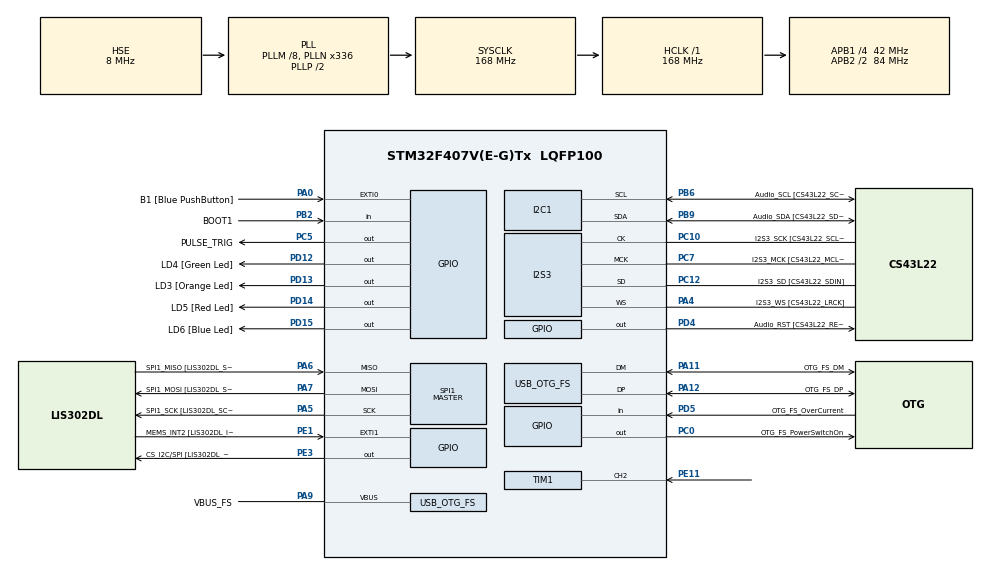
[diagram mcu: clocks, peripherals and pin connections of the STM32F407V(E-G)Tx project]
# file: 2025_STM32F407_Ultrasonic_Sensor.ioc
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I2S3.AudioFreq-Half_Duplex_Master=I2S_AUDIOFREQ_96K
I2S3.ErrorAudioFreq=-2.34 %
I2S3.ErrorAudioFreq-Half_Duplex_Master=0.8 %
I2S3.FullDuplexMode=I2S_FULLDUPLEXMODE_DISABLE
I2S3.Instance=SPI$Index
I2S3.RealAudioFreq=93.75 KHz
I2S3.RealAudioFreq-Half_Duplex_Master=96.774 KHz
I2S3.VirtualMode=I2S_MODE_MASTER
Mcu.Family=STM32F4
Mcu.Name=STM32F407V(E-G)Tx
Mcu.Package=LQFP100
NVIC.OTG_FS_IRQn=true\:0\:0\:false\:false\:true\:true\:true\:true
NVIC.PriorityGroup=NVIC_PRIORITYGROUP_0
NVIC.TIM1_CC_IRQn=true\:0\:0\:false\:false\:true\:true\:true\:true
PA0-WKUP.GPIO_Label=B1 [Blue PushButton]
PA0-WKUP.GPIO_ModeDefaultEXTI=GPIO_MODE_EVT_RISING
PA0-WKUP.GPIO_PuPd=GPIO_NOPULL
PA0-WKUP.Signal=GPXTI0
PA10.GPIO_Label=OTG_FS_ID
PA10.GPIO_Mode=GPIO_MODE_AF_PP
PA10.GPIO_PuPd=GPIO_NOPULL
PA10.GPIO_Speed=GPIO_SPEED_FREQ_LOW
PA10.Signal=USB_OTG_FS_ID
PA11.GPIO_Label=OTG_FS_DM
PA11.GPIO_Mode=GPIO_MODE_AF_PP
PA11.GPIO_PuPd=GPIO_NOPULL
PA11.GPIO_Speed=GPIO_SPEED_FREQ_LOW
PA11.Mode=Host_Only
PA11.Signal=USB_OTG_FS_DM
PA12.GPIO_Label=OTG_FS_DP
PA12.GPIO_Mode=GPIO_MODE_AF_PP
PA12.GPIO_PuPd=GPIO_NOPULL
PA12.GPIO_Speed=GPIO_SPEED_FREQ_LOW
PA12.Mode=Host_Only
PA12.Signal=USB_OTG_FS_DP
PA13.GPIO_Label=SWDIO
PA13.Mode=Serial_Wire
PA13.Signal=SYS_JTMS-SWDIO
PA14.GPIO_Label=SWCLK
PA14.Mode=Serial_Wire
PA14.Signal=SYS_JTCK-SWCLK
PA4.GPIO_Label=I2S3_WS [CS43L22_LRCK]
PA4.GPIO_Mode=GPIO_MODE_AF_PP
PA4.GPIO_PuPd=GPIO_NOPULL
PA4.GPIO_Speed=GPIO_SPEED_FREQ_LOW
PA4.Mode=Half_Duplex_Master
PA4.Signal=I2S3_WS
PA5.GPIO_Label=SPI1_SCK [LIS302DL_SCL/SPC]
PA5.GPIO_Mode=GPIO_MODE_AF_PP
PA5.GPIO_PuPd=GPIO_NOPULL
PA5.GPIO_Speed=GPIO_SPEED_FREQ_LOW
PA5.Mode=Full_Duplex_Master
PA5.Signal=SPI1_SCK
PA6.GPIO_Label=SPI1_MISO [LIS302DL_SDO]
PA6.GPIO_Mode=GPIO_MODE_AF_PP
PA6.GPIO_PuPd=GPIO_NOPULL
PA6.GPIO_Speed=GPIO_SPEED_FREQ_LOW
PA6.Mode=Full_Duplex_Master
PA6.Signal=SPI1_MISO
PA7.GPIO_Label=SPI1_MOSI [LIS302DL_SDA/SDI/SDO]
PA7.GPIO_Mode=GPIO_MODE_AF_PP
PA7.GPIO_PuPd=GPIO_NOPULL
PA7.GPIO_Speed=GPIO_SPEED_FREQ_LOW
PA7.Mode=Full_Duplex_Master
PA7.Signal=SPI1_MOSI
PA9.GPIO_Label=VBUS_FS
PA9.GPIO_Mode=GPIO_MODE_INPUT
PA9.GPIO_PuPd=GPIO_NOPULL
PA9.Mode=Activate_VBUS
PA9.Signal=USB_OTG_FS_VBUS
PB10.GPIO_Label=CLK_IN [MP45DT02_CLK]
PB10.GPIO_Mode=GPIO_MODE_AF_PP
PB10.GPIO_PuPd=GPIO_NOPULL
PB10.GPIO_Speed=GPIO_SPEED_FREQ_LOW
PB10.Signal=I2S2_CK
PB2.GPIO_Label=BOOT1
PB2.GPIO_Mode=GPIO_MODE_INPUT
PB2.GPIO_PuPd=GPIO_NOPULL
PB2.Signal=GPIO_Input
PB3.GPIO_Label=SWO
PB3.Signal=SYS_JTDO-SWO
PB6.GPIO_Label=Audio_SCL [CS43L22_SCL]
PB6.GPIO_Mode=GPIO_MODE_AF_OD
PB6.GPIO_Pu=GPIO_PULLUP
PB6.GPIO_PuPd=GPIO_NOPULL
PB6.GPIO_Speed=GPIO_SPEED_FREQ_LOW
PB6.Mode=I2C
PB6.Signal=I2C1_SCL
PB9.GPIO_Label=Audio_SDA [CS43L22_SDA]
PB9.GPIO_Mode=GPIO_MODE_AF_OD
PB9.GPIO_Pu=GPIO_PULLUP
PB9.GPIO_PuPd=GPIO_NOPULL
PB9.GPIO_Speed=GPIO_SPEED_FREQ_LOW
PB9.Mode=I2C
PB9.Signal=I2C1_SDA
PC0.GPIO_Label=OTG_FS_PowerSwitchOn
PC0.GPIO_PuPd=GPIO_NOPULL
PC0.GPIO_Speed=GPIO_SPEED_FREQ_LOW
PC0.PinState=GPIO_PIN_SET
PC0.Signal=GPIO_Output
PC10.GPIO_Label=I2S3_SCK [CS43L22_SCLK]
PC10.GPIO_Mode=GPIO_MODE_AF_PP
PC10.GPIO_PuPd=GPIO_NOPULL
PC10.GPIO_Speed=GPIO_SPEED_FREQ_LOW
PC10.Mode=Half_Duplex_Master
PC10.Signal=I2S3_CK
PC12.GPIO_Label=I2S3_SD [CS43L22_SDIN]
PC12.GPIO_Mode=GPIO_MODE_AF_PP
PC12.GPIO_PuPd=GPIO_NOPULL
PC12.GPIO_Speed=GPIO_SPEED_FREQ_LOW
PC12.Mode=Half_Duplex_Master
PC12.Signal=I2S3_SD
PC14-OSC32_IN.GPIO_Label=PC14-OSC32_IN
PC14-OSC32_IN.Mode=LSE-External-Oscillator
PC14-OSC32_IN.Signal=RCC_OSC32_IN
PC15-OSC32_OUT.GPIO_Label=PC15-OSC32_OUT
PC15-OSC32_OUT.Mode=LSE-External-Oscillator
PC15-OSC32_OUT.Signal=RCC_OSC32_OUT
PC3.GPIO_Label=PDM_OUT [MP45DT02_DOUT]
PC3.GPIO_Mode=GPIO_MODE_AF_PP
PC3.GPIO_PuPd=GPIO_NOPULL
PC3.GPIO_Speed=GPIO_SPEED_FREQ_LOW
PC3.Signal=I2S2_SD
PC5.GPIO_Label=PULSE_TRIG
PC5.Signal=GPIO_Output
PC7.GPIO_Label=I2S3_MCK [CS43L22_MCLK]
PC7.GPIO_Mode=GPIO_MODE_AF_PP
PC7.GPIO_PuPd=GPIO_NOPULL
PC7.GPIO_Speed=GPIO_SPEED_FREQ_LOW
PC7.Mode=Master_Clock_Activated
PC7.Signal=I2S3_MCK
PD12.GPIO_Label=LD4 [Green Led]
PD12.GPIO_PuPd=GPIO_NOPULL
PD12.GPIO_Speed=GPIO_SPEED_FREQ_LOW
PD12.Signal=GPIO_Output
PD13.GPIO_Label=LD3 [Orange Led]
PD13.GPIO_PuPd=GPIO_NOPULL
PD13.GPIO_Speed=GPIO_SPEED_FREQ_LOW
PD13.Signal=GPIO_Output
PD14.GPIO_Label=LD5 [Red Led]
PD14.GPIO_PuPd=GPIO_NOPULL
PD14.GPIO_Speed=GPIO_SPEED_FREQ_LOW
PD14.Signal=GPIO_Output
PD15.GPIO_Label=LD6 [Blue Led]
PD15.GPIO_PuPd=GPIO_NOPULL
PD15.GPIO_Speed=GPIO_SPEED_FREQ_LOW
PD15.Signal=GPIO_Output
PD4.GPIO_Label=Audio_RST [CS43L22_RESET]
PD4.GPIO_PuPd=GPIO_NOPULL
PD4.GPIO_Speed=GPIO_SPEED_FREQ_LOW
PD4.Signal=GPIO_Output
PD5.GPIO_Label=OTG_FS_OverCurrent
PD5.GPIO_Mode=GPIO_MODE_INPUT
PD5.GPIO_PuPd=GPIO_NOPULL
PD5.Signal=GPIO_Input
PE1.GPIO_Label=MEMS_INT2 [LIS302DL_INT2]
PE1.GPIO_ModeDefaultEXTI=GPIO_MODE_EVT_RISING
PE1.GPIO_PuPd=GPIO_NOPULL
PE1.Signal=GPXTI1
PE11.Signal=S_TIM1_CH2
PE3.GPIO_Label=CS_I2C/SPI [LIS302DL_CS_I2C/SPI]
PE3.GPIO_PuPd=GPIO_NOPULL
PE3.GPIO_Speed=GPIO_SPEED_FREQ_LOW
PE3.Signal=GPIO_Output
PH0-OSC_IN.GPIO_Label=PH0-OSC_IN
PH0-OSC_IN.Mode=HSE-External-Oscillator
PH0-OSC_IN.Signal=RCC_OSC_IN
PH1-OSC_OUT.GPIO_Label=PH1-OSC_OUT
PH1-OSC_OUT.Mode=HSE-External-Oscillator
PH1-OSC_OUT.Signal=RCC_OSC_OUT
ProjectManager.HeapSize=0x200
ProjectManager.StackSize=0x400
ProjectManager.TargetToolchain=STM32CubeIDE
RCC.48MHZClocksFreq_Value=48000000
RCC.AHBFreq_Value=168000000
RCC.APB1CLKDivider=RCC_HCLK_DIV4
RCC.APB1Freq_Value=42000000
RCC.APB1TimFreq_Value=84000000
RCC.APB2CLKDivider=RCC_HCLK_DIV2
RCC.APB2Freq_Value=84000000
RCC.APB2TimFreq_Value=168000000
RCC.CortexFreq_Value=168000000
RCC.HCLKFreq_Value=168000000
RCC.HSE_VALUE=8000000
RCC.HSI_VALUE=16000000
RCC.PLLM=8
RCC.PLLN=336
RCC.PLLQ=7
RCC.SYSCLKFreq_VALUE=168000000
RCC.SYSCLKSource=RCC_SYSCLKSOURCE_PLLCLK
RCC.VCOOutputFreq_Value=336000000
SH.S_TIM1_CH2.0=TIM1_CH2,Input_Capture2_from_TI2
SPI1.BaudRatePrescaler-Full_Duplex_Master=SPI_BAUDRATEPRESCALER_2
SPI1.CalculateBaudRate-Full_Duplex_Master=42.0 MBits/s
SPI1.Direction=SPI_DIRECTION_2LINES
SPI1.Mode=SPI_MODE_MASTER
SPI1.Mode-Full_Duplex_Master=SPI_MODE_MASTER
SPI1.VirtualType=VM_MASTER
TIM1.Channel-Input_Capture2_from_TI2=TIM_CHANNEL_2
TIM1.ICPolarity_CH2=TIM_INPUTCHANNELPOLARITY_BOTHEDGE
TIM1.Prescaler=168-1
USB_HOST.BSP.number=1
USB_HOST.USBH_HandleTypeDef-CDC_FS=hUsbHostFS
USB_HOST.VirtualModeFS=Cdc
USB_HOST0.BSP.STBoard=false
USB_HOST0.BSP.api=Unknown
USB_HOST0.BSP.instance=PC0
USB_HOST0.BSP.ip=GPIO
USB_HOST0.BSP.mode=Output
USB_HOST0.BSP.name=Drive_VBUS_FS
USB_HOST0.BSP.solution=PC0
USB_OTG_FS.VirtualMode=Host_Only
USB_OTG_FS.phy_itface=HCD_PHY_EMBEDDED
VP_USB_HOST_VS_USB_HOST_CDC_FS.Mode=CDC_FS
board=STM32F407G-DISC1

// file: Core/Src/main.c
/* USER CODE BEGIN Header */
/**
  ******************************************************************************
  * @file           : main.c
  * @brief          : Main program body
  ******************************************************************************
  * @attention
  *
  * Copyright (c) 2025 STMicroelectronics.
  * All rights reserved.
  *
  * This software is licensed under terms that can be found in the LICENSE file
  * in the root directory of this software component.
  * If no LICENSE file comes with this software, it is provided AS-IS.
  *
  ******************************************************************************
  */
/* USER CODE END Header */
#include "main.h"
#include "usb_host.h"

I2C_HandleTypeDef hi2c1;

I2S_HandleTypeDef hi2s3;

SPI_HandleTypeDef hspi1;

TIM_HandleTypeDef htim1;

/* USER CODE BEGIN PV */

extern volatile uint8_t Measurement_Ready;  //flag for measurement
extern volatile float Distance_cm; //distance variable

/* USER CODE END PV */

void SystemClock_Config(void);
static void MX_GPIO_Init(void);
static void MX_I2C1_Init(void);
static void MX_I2S3_Init(void);
static void MX_SPI1_Init(void);
static void MX_TIM1_Init(void);
void MX_USB_HOST_Process(void);

/* USER CODE BEGIN PFP */

void Trigger_Ultrasonic(void); //function prototype for ping function trig pin
void delay_us(uint32_t us); //function prototype for microsecond delay
/* USER CODE END PFP */

int main(void)
{

  /* MCU Configuration--------------------------------------------------------*/

  /* Reset of all peripherals, Initializes the Flash interface and the Systick. */
  HAL_Init();

  /* Configure the system clock */
  SystemClock_Config();

  /* Initialize all configured peripherals */
  MX_GPIO_Init();
  MX_I2C1_Init();
  MX_I2S3_Init();
  MX_SPI1_Init();
  MX_USB_HOST_Init();
  MX_TIM1_Init();
  /* USER CODE BEGIN 2 */

  //Initialize trigger pin state
  HAL_GPIO_WritePin(PULSE_TRIG_GPIO_Port, PULSE_TRIG_Pin, GPIO_PIN_RESET);

  //Start TIM1 Channel 2 in Input Capture Interrupt mode
  HAL_TIM_IC_Start_IT(&htim1, TIM_CHANNEL_2);

  //Initially disable the interrupt, will be enabled by Trigger_Ultrasonic() function later
  __HAL_TIM_DISABLE_IT(&htim1, TIM_IT_CC2);

  /* USER CODE END 2 */

  /* Infinite loop */
  /* USER CODE BEGIN WHILE */
  while (1)
  {
	  Trigger_Ultrasonic(); // Send trigger pulse to start measurement

	  uint32_t timeout = HAL_GetTick() + 100; // 100ms timeout for measurement
	  while (!Measurement_Ready && HAL_GetTick() < timeout) {
		  // Wait for the interrupt to signal completion, with a timeout
		  MX_USB_HOST_Process(); //let code do other things if needed while waiting

	  }

	  //ping received back from sensor, preceded to measurement display
	  if (Measurement_Ready)
	  {
		  Measurement_Ready = 0; // Reset the flag after reading

		  //read distance via debugger on live vars Distance_cm

		  // LED on for distances 0 to 10 cm for debugging purposes. If distance within range then red led on, if out of range then orange led on
		  if (Distance_cm < 10.0 && Distance_cm > 0.0) { // Check > 0 for valid reading
			   HAL_GPIO_WritePin(GPIOD, GPIO_PIN_14, GPIO_PIN_SET); //LED ON RED
			   HAL_GPIO_WritePin(GPIOD, GPIO_PIN_13, GPIO_PIN_RESET); //LED OFF ORANGE
		  } else {
			   HAL_GPIO_WritePin(GPIOD, GPIO_PIN_14, GPIO_PIN_RESET); //LED OFF RED
			   HAL_GPIO_WritePin(GPIOD, GPIO_PIN_13, GPIO_PIN_SET); //LED ON ORANGE
		  }
	  } else {
		// Handle Timeout or Error
		 HAL_GPIO_WritePin(GPIOD, GPIO_PIN_14, GPIO_PIN_RESET); // Ensure LED is off on timeout
		 HAL_GPIO_WritePin(GPIOD, GPIO_PIN_13, GPIO_PIN_RESET);
	  }

	  // Delay before next measurement cycle
	  HAL_Delay(100);

    /* USER CODE END WHILE */
    MX_USB_HOST_Process();

  }
}

void SystemClock_Config(void)
{
  RCC_OscInitTypeDef RCC_OscInitStruct = {0};
  RCC_ClkInitTypeDef RCC_ClkInitStruct = {0};

  /** Configure the main internal regulator output voltage
  */
  __HAL_RCC_PWR_CLK_ENABLE();
  __HAL_PWR_VOLTAGESCALING_CONFIG(PWR_REGULATOR_VOLTAGE_SCALE1);

  /** Initializes the RCC Oscillators according to the specified parameters
  * in the RCC_OscInitTypeDef structure.
  */
  RCC_OscInitStruct.OscillatorType = RCC_OSCILLATORTYPE_HSE;
  RCC_OscInitStruct.HSEState = RCC_HSE_ON;
  RCC_OscInitStruct.PLL.PLLState = RCC_PLL_ON;
  RCC_OscInitStruct.PLL.PLLSource = RCC_PLLSOURCE_HSE;
  RCC_OscInitStruct.PLL.PLLM = 8;
  RCC_OscInitStruct.PLL.PLLN = 336;
  RCC_OscInitStruct.PLL.PLLP = RCC_PLLP_DIV2;
  RCC_OscInitStruct.PLL.PLLQ = 7;
  if (HAL_RCC_OscConfig(&RCC_OscInitStruct) != HAL_OK)
  {
    Error_Handler();
  }

  /** Initializes the CPU, AHB and APB buses clocks
  */
  RCC_ClkInitStruct.ClockType = RCC_CLOCKTYPE_HCLK|RCC_CLOCKTYPE_SYSCLK
                              |RCC_CLOCKTYPE_PCLK1|RCC_CLOCKTYPE_PCLK2;
  RCC_ClkInitStruct.SYSCLKSource = RCC_SYSCLKSOURCE_PLLCLK;
  RCC_ClkInitStruct.AHBCLKDivider = RCC_SYSCLK_DIV1;
  RCC_ClkInitStruct.APB1CLKDivider = RCC_HCLK_DIV4;
  RCC_ClkInitStruct.APB2CLKDivider = RCC_HCLK_DIV2;

  if (HAL_RCC_ClockConfig(&RCC_ClkInitStruct, FLASH_LATENCY_5) != HAL_OK)
  {
    Error_Handler();
  }
}

static void MX_I2C1_Init(void)
{

  hi2c1.Instance = I2C1;
  hi2c1.Init.ClockSpeed = 100000;
  hi2c1.Init.DutyCycle = I2C_DUTYCYCLE_2;
  hi2c1.Init.OwnAddress1 = 0;
  hi2c1.Init.AddressingMode = I2C_ADDRESSINGMODE_7BIT;
  hi2c1.Init.DualAddressMode = I2C_DUALADDRESS_DISABLE;
  hi2c1.Init.OwnAddress2 = 0;
  hi2c1.Init.GeneralCallMode = I2C_GENERALCALL_DISABLE;
  hi2c1.Init.NoStretchMode = I2C_NOSTRETCH_DISABLE;
  if (HAL_I2C_Init(&hi2c1) != HAL_OK)
  {
    Error_Handler();
  }

}

static void MX_I2S3_Init(void)
{

  hi2s3.Instance = SPI3;
  hi2s3.Init.Mode = I2S_MODE_MASTER_TX;
  hi2s3.Init.Standard = I2S_STANDARD_PHILIPS;
  hi2s3.Init.DataFormat = I2S_DATAFORMAT_16B;
  hi2s3.Init.MCLKOutput = I2S_MCLKOUTPUT_ENABLE;
  hi2s3.Init.AudioFreq = I2S_AUDIOFREQ_96K;
  hi2s3.Init.CPOL = I2S_CPOL_LOW;
  hi2s3.Init.ClockSource = I2S_CLOCK_PLL;
  hi2s3.Init.FullDuplexMode = I2S_FULLDUPLEXMODE_DISABLE;
  if (HAL_I2S_Init(&hi2s3) != HAL_OK)
  {
    Error_Handler();
  }

}

static void MX_SPI1_Init(void)
{

  /* SPI1 parameter configuration*/
  hspi1.Instance = SPI1;
  hspi1.Init.Mode = SPI_MODE_MASTER;
  hspi1.Init.Direction = SPI_DIRECTION_2LINES;
  hspi1.Init.DataSize = SPI_DATASIZE_8BIT;
  hspi1.Init.CLKPolarity = SPI_POLARITY_LOW;
  hspi1.Init.CLKPhase = SPI_PHASE_1EDGE;
  hspi1.Init.NSS = SPI_NSS_SOFT;
  hspi1.Init.BaudRatePrescaler = SPI_BAUDRATEPRESCALER_2;
  hspi1.Init.FirstBit = SPI_FIRSTBIT_MSB;
  hspi1.Init.TIMode = SPI_TIMODE_DISABLE;
  hspi1.Init.CRCCalculation = SPI_CRCCALCULATION_DISABLE;
  hspi1.Init.CRCPolynomial = 10;
  if (HAL_SPI_Init(&hspi1) != HAL_OK)
  {
    Error_Handler();
  }

}

static void MX_TIM1_Init(void)
{

  TIM_MasterConfigTypeDef sMasterConfig = {0};
  TIM_IC_InitTypeDef sConfigIC = {0};

  htim1.Instance = TIM1;
  htim1.Init.Prescaler = 168-1;
  htim1.Init.CounterMode = TIM_COUNTERMODE_UP;
  htim1.Init.Period = 65535;
  htim1.Init.ClockDivision = TIM_CLOCKDIVISION_DIV1;
  htim1.Init.RepetitionCounter = 0;
  htim1.Init.AutoReloadPreload = TIM_AUTORELOAD_PRELOAD_DISABLE;
  if (HAL_TIM_IC_Init(&htim1) != HAL_OK)
  {
    Error_Handler();
  }
  sMasterConfig.MasterOutputTrigger = TIM_TRGO_RESET;
  sMasterConfig.MasterSlaveMode = TIM_MASTERSLAVEMODE_DISABLE;
  if (HAL_TIMEx_MasterConfigSynchronization(&htim1, &sMasterConfig) != HAL_OK)
  {
    Error_Handler();
  }
  sConfigIC.ICPolarity = TIM_INPUTCHANNELPOLARITY_BOTHEDGE;
  sConfigIC.ICSelection = TIM_ICSELECTION_DIRECTTI;
  sConfigIC.ICPrescaler = TIM_ICPSC_DIV1;
  sConfigIC.ICFilter = 0;
  if (HAL_TIM_IC_ConfigChannel(&htim1, &sConfigIC, TIM_CHANNEL_2) != HAL_OK)
  {
    Error_Handler();
  }

}

static void MX_GPIO_Init(void)
{
  GPIO_InitTypeDef GPIO_InitStruct = {0};

  /* GPIO Ports Clock Enable */
  __HAL_RCC_GPIOE_CLK_ENABLE();
  __HAL_RCC_GPIOC_CLK_ENABLE();
  __HAL_RCC_GPIOH_CLK_ENABLE();
  __HAL_RCC_GPIOA_CLK_ENABLE();
  __HAL_RCC_GPIOB_CLK_ENABLE();
  __HAL_RCC_GPIOD_CLK_ENABLE();

  /*Configure GPIO pin Output Level */
  HAL_GPIO_WritePin(CS_I2C_SPI_GPIO_Port, CS_I2C_SPI_Pin, GPIO_PIN_RESET);

  /*Configure GPIO pin Output Level */
  HAL_GPIO_WritePin(OTG_FS_PowerSwitchOn_GPIO_Port, OTG_FS_PowerSwitchOn_Pin, GPIO_PIN_SET);

  /*Configure GPIO pin Output Level */
  HAL_GPIO_WritePin(PULSE_TRIG_GPIO_Port, PULSE_TRIG_Pin, GPIO_PIN_RESET);

  /*Configure GPIO pin Output Level */
  HAL_GPIO_WritePin(GPIOD, LD4_Pin|LD3_Pin|LD5_Pin|LD6_Pin
                          |Audio_RST_Pin, GPIO_PIN_RESET);

  /*Configure GPIO pin : CS_I2C_SPI_Pin */
  GPIO_InitStruct.Pin = CS_I2C_SPI_Pin;
  GPIO_InitStruct.Mode = GPIO_MODE_OUTPUT_PP;
  GPIO_InitStruct.Pull = GPIO_NOPULL;
  GPIO_InitStruct.Speed = GPIO_SPEED_FREQ_LOW;
  HAL_GPIO_Init(CS_I2C_SPI_GPIO_Port, &GPIO_InitStruct);

  /*Configure GPIO pins : OTG_FS_PowerSwitchOn_Pin PULSE_TRIG_Pin */
  GPIO_InitStruct.Pin = OTG_FS_PowerSwitchOn_Pin|PULSE_TRIG_Pin;
  GPIO_InitStruct.Mode = GPIO_MODE_OUTPUT_PP;
  GPIO_InitStruct.Pull = GPIO_NOPULL;
  GPIO_InitStruct.Speed = GPIO_SPEED_FREQ_LOW;
  HAL_GPIO_Init(GPIOC, &GPIO_InitStruct);

  /*Configure GPIO pin : PDM_OUT_Pin */
  GPIO_InitStruct.Pin = PDM_OUT_Pin;
  GPIO_InitStruct.Mode = GPIO_MODE_AF_PP;
  GPIO_InitStruct.Pull = GPIO_NOPULL;
  GPIO_InitStruct.Speed = GPIO_SPEED_FREQ_LOW;
  GPIO_InitStruct.Alternate = GPIO_AF5_SPI2;
  HAL_GPIO_Init(PDM_OUT_GPIO_Port, &GPIO_InitStruct);

  /*Configure GPIO pin : B1_Pin */
  GPIO_InitStruct.Pin = B1_Pin;
  GPIO_InitStruct.Mode = GPIO_MODE_EVT_RISING;
  GPIO_InitStruct.Pull = GPIO_NOPULL;
  HAL_GPIO_Init(B1_GPIO_Port, &GPIO_InitStruct);

  /*Configure GPIO pin : BOOT1_Pin */
  GPIO_InitStruct.Pin = BOOT1_Pin;
  GPIO_InitStruct.Mode = GPIO_MODE_INPUT;
  GPIO_InitStruct.Pull = GPIO_NOPULL;
  HAL_GPIO_Init(BOOT1_GPIO_Port, &GPIO_InitStruct);

  /*Configure GPIO pin : CLK_IN_Pin */
  GPIO_InitStruct.Pin = CLK_IN_Pin;
  GPIO_InitStruct.Mode = GPIO_MODE_AF_PP;
  GPIO_InitStruct.Pull = GPIO_NOPULL;
  GPIO_InitStruct.Speed = GPIO_SPEED_FREQ_LOW;
  GPIO_InitStruct.Alternate = GPIO_AF5_SPI2;
  HAL_GPIO_Init(CLK_IN_GPIO_Port, &GPIO_InitStruct);

  /*Configure GPIO pins : LD4_Pin LD3_Pin LD5_Pin LD6_Pin
                           Audio_RST_Pin */
  GPIO_InitStruct.Pin = LD4_Pin|LD3_Pin|LD5_Pin|LD6_Pin
                          |Audio_RST_Pin;
  GPIO_InitStruct.Mode = GPIO_MODE_OUTPUT_PP;
  GPIO_InitStruct.Pull = GPIO_NOPULL;
  GPIO_InitStruct.Speed = GPIO_SPEED_FREQ_LOW;
  HAL_GPIO_Init(GPIOD, &GPIO_InitStruct);

  /*Configure GPIO pin : OTG_FS_OverCurrent_Pin */
  GPIO_InitStruct.Pin = OTG_FS_OverCurrent_Pin;
  GPIO_InitStruct.Mode = GPIO_MODE_INPUT;
  GPIO_InitStruct.Pull = GPIO_NOPULL;
  HAL_GPIO_Init(OTG_FS_OverCurrent_GPIO_Port, &GPIO_InitStruct);

  /*Configure GPIO pin : MEMS_INT2_Pin */
  GPIO_InitStruct.Pin = MEMS_INT2_Pin;
  GPIO_InitStruct.Mode = GPIO_MODE_EVT_RISING;
  GPIO_InitStruct.Pull = GPIO_NOPULL;
  HAL_GPIO_Init(MEMS_INT2_GPIO_Port, &GPIO_InitStruct);

}

/* USER CODE BEGIN 4 */

// ----- Ultrasonic Sensor Variables -----
#define TRIG_PIN PULSE_TRIG_Pin // Use the define from main.h
#define TRIG_PORT PULSE_TRIG_GPIO_Port // Use the define from main.h

volatile uint32_t IC_Val1 = 0; // Holds the first captured value (rising edge)
volatile uint32_t IC_Val2 = 0; // Holds the second captured value (falling edge)
volatile uint32_t Difference = 0; // Holds the pulse duration (in microseconds)
volatile uint8_t Is_First_Captured = 0; // Flag to check if rising edge is captured (0=No, 1=Yes)
volatile uint8_t Measurement_Ready = 0; // Flag to indicate a new measurement is complete (0=No, 1=Yes)
volatile float Distance_cm = 0.0f; // Calculated distance

// Function to implement microsecond delay
// For 168MHz clock, dividing by 168 gives rough microseconds.
void delay_us(uint32_t us)
{
    __IO uint32_t HCLK_Frequency = HAL_RCC_GetHCLKFreq(); // Get HCLK frequency
    // Simple loop delay - Adjust the division factor based on instruction cycles per loop iteration
    // For 168MHz, /168 gives roughly 1 million loops per second. Add some overhead.
    uint32_t delay_loops = (HCLK_Frequency / 1000000) * us / 4;
    for (uint32_t i = 0; i < delay_loops; ++i)
    {
        __NOP(); // No operation - prevents loop optimization
    }
}

// Function to trigger the sensor measurement
void Trigger_Ultrasonic(void)
{
    // Ensure measurement isn't already in progress or ready to be read
    if (!Is_First_Captured && !Measurement_Ready)
    {
        // Send ~10us Trigger Pulse
        HAL_GPIO_WritePin(TRIG_PORT, TRIG_PIN, GPIO_PIN_SET);
        delay_us(10); // Use microsecond delay
        HAL_GPIO_WritePin(TRIG_PORT, TRIG_PIN, GPIO_PIN_RESET);

        // Ensure interrupts are enabled and start listening for the rising edge
        __HAL_TIM_ENABLE_IT(&htim1, TIM_IT_CC2);
    }
}

// Input Capture Callback Function
void HAL_TIM_IC_CaptureCallback(TIM_HandleTypeDef *htim)
{
    // Check if the interrupt source is TIM1 and the specific channel (Channel 2)
    if (htim->Instance == TIM1 && htim->Channel == HAL_TIM_ACTIVE_CHANNEL_2)
    {
        if (Is_First_Captured == 0) // If this is the first capture (Rising Edge)
        {
            IC_Val1 = HAL_TIM_ReadCapturedValue(htim, TIM_CHANNEL_2); // Read the rising edge capture value
            Is_First_Captured = 1; // Set flag indicating rising edge is captured

            // Now change the polarity to capture the falling edge
            __HAL_TIM_SET_CAPTUREPOLARITY(htim, TIM_CHANNEL_2, TIM_INPUTCHANNELPOLARITY_FALLING);
        }
        else if (Is_First_Captured == 1) // If this is the second capture (Falling Edge)
        {
            IC_Val2 = HAL_TIM_ReadCapturedValue(htim, TIM_CHANNEL_2); // Read the falling edge capture value

            // --- Calculate Pulse Duration (handling timer overflow) ---
            if (IC_Val2 > IC_Val1)
            {
                Difference = IC_Val2 - IC_Val1;
            }
            else // Timer overflow occurred between rising and falling edges
            {
                // Timer period (ARR+1) is 65536 for ARR=65535
                Difference = (0xFFFF - IC_Val1) + IC_Val2 + 1;
            }

            // --- Calculate Distance --- conversion calculations
            // Speed of sound = 343 m/s = 0.0343 cm/us
            // Distance (cm) = (Pulse Duration (us) * 0.0343) / 2
            // Distance (cm) = Pulse Duration (us) / 58.309
            Distance_cm = (float)Difference / 58.3f; // Use floating point division, set global var so accessible from main

            // --- Reset for next measurement ---
            Is_First_Captured = 0; // Reset the flag for the next cycle
            Measurement_Ready = 1; // Signal that a new distance value is available

            // Change back to rising edge to detect the start of the next pulse (too much testing to get to this conclusion)
            __HAL_TIM_SET_CAPTUREPOLARITY(htim, TIM_CHANNEL_2, TIM_INPUTCHANNELPOLARITY_RISING);

            // Disable the CC2 interrupt until the next trigger pulse, make sure readings arn't had before waiting period is over
             __HAL_TIM_DISABLE_IT(htim, TIM_IT_CC2);
        }
    }
}

/* USER CODE END 4 */

void Error_Handler(void)
{
  __disable_irq();
  while (1)
  {
  }
}
